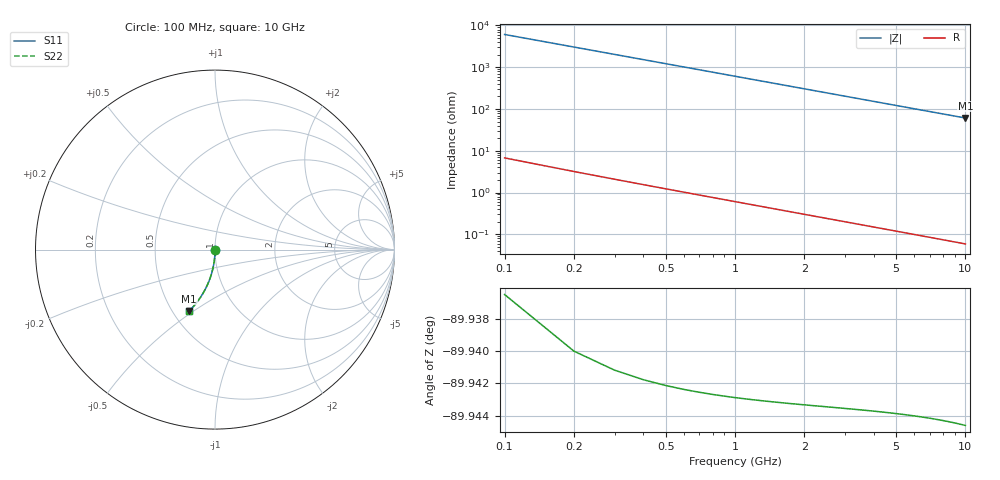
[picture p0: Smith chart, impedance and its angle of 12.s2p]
# Hz S RI R 50.00
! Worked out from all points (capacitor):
!   100 points, 100 MHz to 10 GHz, reference 50 ohm
!   read as one part in shunt: C = 261 fF near 100 MHz
!   lowest |Z| = 61 ohm at 10 GHz (marker M1)
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1e8  3.8e-05 -0.00401  0.9999 -0.00419  0.9999 -0.00419  3.8e-05 -0.00401
2e8  -1.61e-05 -0.00802  0.9999 -0.00838  0.9999 -0.00838  -1.61e-05 -0.00802
3e8  -0.000104 -0.012  0.9998 -0.0126  0.9998 -0.0126  -0.000104 -0.012
4e8  -0.000225 -0.016  0.9997 -0.0168  0.9997 -0.0168  -0.000225 -0.016
5e8  -0.00038 -0.02  0.9995 -0.0209  0.9995 -0.0209  -0.00038 -0.02
6e8  -0.000569 -0.024  0.9993 -0.0251  0.9993 -0.0251  -0.000569 -0.024
7e8  -0.000791 -0.028  0.9991 -0.0293  0.9991 -0.0293  -0.000791 -0.028
8e8  -0.00105 -0.032  0.9988 -0.0335  0.9988 -0.0335  -0.00105 -0.032
9e8  -0.00134 -0.036  0.9985 -0.0377  0.9985 -0.0377  -0.00134 -0.036
1.1e9  -0.00201 -0.044  0.9979 -0.046  0.9979 -0.046  -0.00201 -0.044
1.4e9  -0.00328 -0.0559  0.9966 -0.0585  0.9966 -0.0585  -0.00328 -0.0559
1.8e9  -0.00543 -0.0718  0.9944 -0.075  0.9944 -0.075  -0.00543 -0.0718
2.1e9  -0.00738 -0.0836  0.9925 -0.0874  0.9925 -0.0874  -0.00738 -0.0836
2.5e9  -0.0104 -0.0992  0.9894 -0.1037  0.9894 -0.1037  -0.0104 -0.0992
2.9e9  -0.014 -0.1147  0.9859 -0.1199  0.9859 -0.1199  -0.014 -0.1147
3.4e9  -0.0191 -0.1337  0.9807 -0.1399  0.9807 -0.1399  -0.0191 -0.1337
4.2e9  -0.0289 -0.1635  0.9709 -0.1712  0.9709 -0.1712  -0.0289 -0.1635
5.1e9  -0.0421 -0.1959  0.9577 -0.2052  0.9577 -0.2052  -0.0421 -0.1959
5.9e9  -0.0556 -0.2234  0.9442 -0.2342  0.9442 -0.2342  -0.0556 -0.2234
6.7e9  -0.0706 -0.2497  0.9292 -0.2619  0.9292 -0.2619  -0.0706 -0.2497
8.4e9  -0.1067 -0.3008  0.893 -0.3161  0.893 -0.3161  -0.1067 -0.3008
1e10  -0.145 -0.3426  0.8547 -0.3609  0.8547 -0.3609  -0.145 -0.3426
